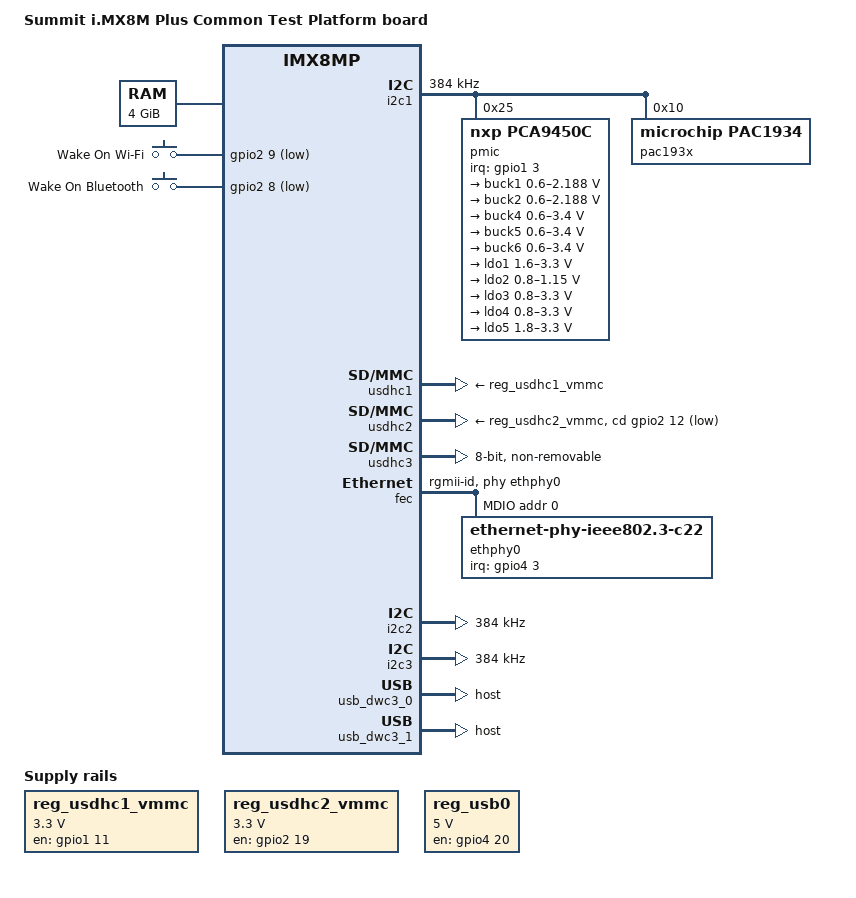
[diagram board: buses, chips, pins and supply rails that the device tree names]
// SPDX-License-Identifier: LicenseRef-Ezurio-Clause
/*
 * Copyright 2024 Ezurio
 */

#include <dt-bindings/net/ti-dp83867.h>
#include <dt-bindings/phy/phy-imx8-pcie.h>
#include <dt-bindings/usb/pd.h>

#include "imx8mp.dtsi"

/ {
	model = "Summit i.MX8M Plus Common Test Platform board";
	compatible = "summit,imx8mp-ctp", "fsl,imx8mp";

	chosen {
		stdout-path = &uart2;
	};

	memory@40000000 {
		device_type = "memory";
		reg = <0x0 0x40000000 0 0x80000000>,
		      <0x1 0x00000000 0 0x80000000>;
	};

	// M.2 E-key
 	reg_usdhc1_vmmc: regulator-usdhc1 {
		compatible = "regulator-fixed";

		pinctrl-names = "default";
		pinctrl-0 = <&pinctrl_wifi_pmu>;
		regulator-name = "M2_3V3";
		regulator-min-microvolt = <3300000>;
		regulator-max-microvolt = <3300000>;

		// gpio1 11 (pad D8) (M2 3V3 load switch enable, which is M.2 slot power)
		gpio = <&gpio1 11 GPIO_ACTIVE_HIGH>;
		enable-active-high;
	};

	// Full-SD
 	reg_usdhc2_vmmc: regulator-usdhc2 {
		compatible = "regulator-fixed";

		pinctrl-names = "default";
		pinctrl-0 = <&pinctrl_reg_usdhc2_vmmc>;

		regulator-name = "SD2_RESET_B VSD_3V3";
		regulator-min-microvolt = <3300000>;
		regulator-max-microvolt = <3300000>;

		// "(SD2_RESET_B to control the VSD_3V3)"
		// gpio2.IO[19], ball AD28
		gpio = <&gpio2 19 GPIO_ACTIVE_HIGH>;
		enable-active-high;

		/*
		 * LWB/LWB5/LWB5+ requires minimum 150ms after power-up until first access
		 * Testing shows this isn't always sufficient
		 */
		startup-delay-us = <250000>;
	};

	radio_wake {
		compatible = "gpio-keys";
		pinctrl-names = "default";
		pinctrl-0 = <&pinctrl_radio_wake>;

		wifi_wake: wake_on_wifi {
			label = "Wake On Wi-Fi";
			// SD1_DATA7, M2_SD_HOST_WAKEUP (M2 SDIO_WAKE#) (CPU Enable PU), ball U25
			gpios = <&gpio2 9 GPIO_ACTIVE_LOW>;
			linux,code = <KEY_WAKEUP>;
			wakeup-source;
		};

		// SD1_DATA6, M2_BT_HOST_WAKEUP (M2 UART WAKE#) (CPU Enable PU), ball AA28
		wake_on_bt {
			label = "Wake On Bluetooth";
			gpios = <&gpio2 8 GPIO_ACTIVE_LOW>;
			linux,code = <KEY_WAKEUP>;
			wakeup-source;
		};
	};

	reg_usb0: regulator-usb0 {
		compatible = "regulator-fixed";

		pinctrl-names = "default";
		pinctrl-0 = <&pinctrl_usb0_power>;

		regulator-name = "USB1 Power";
		regulator-min-microvolt = <5000000>;
		regulator-max-microvolt = <5000000>;

		gpio = <&gpio4 20 GPIO_ACTIVE_HIGH>;
		enable-active-high;
	};

	reg_con3_1v8: regulator-con3-1v8 {
		compatible = "regulator-fixed";
		status = "disabled";

		pinctrl-names = "default";
		pinctrl-0 = <&pinctrl_con3_1v8>;
		regulator-name = "CON3_1V8";
		regulator-min-microvolt = <1800000>;
		regulator-max-microvolt = <1800000>;

		gpio = <&gpio1 14 GPIO_ACTIVE_HIGH>;
		enable-active-high;
	};

	reg_con3_3v3: regulator-con3-3v3 {
		compatible = "regulator-fixed";
		status = "disabled";

		pinctrl-names = "default";
		pinctrl-0 = <&pinctrl_con3_3v3>;
		regulator-name = "CON3_3V3";
		regulator-min-microvolt = <3300000>;
		regulator-max-microvolt = <3300000>;

		gpio = <&gpio1 12 GPIO_ACTIVE_HIGH>;
		enable-active-high;
	};

	reg_con3_5v: regulator-con3-5 {
		compatible = "regulator-fixed";
		status = "disabled";

		pinctrl-names = "default";
		pinctrl-0 = <&pinctrl_con3_5v>;
		regulator-name = "CON3_5V";
		regulator-min-microvolt = <5000000>;
		regulator-max-microvolt = <5000000>;

		gpio = <&gpio1 7 GPIO_ACTIVE_HIGH>;
		enable-active-high;
	};
};

&A53_0 {
	cpu-supply = <&buck2>;
};

&A53_1 {
	cpu-supply = <&buck2>;
};

&A53_2 {
	cpu-supply = <&buck2>;
};

&A53_3 {
	cpu-supply = <&buck2>;
};

&cpu_alert0 {
	temperature = <95000>;
};

&cpu_crit0 {
	temperature = <105000>;
};

&soc_alert0 {
	temperature = <95000>;
};

&soc_crit0 {
	temperature = <105000>;
};

&i2c1 {
	clock-frequency = <384000>;
	pinctrl-names = "default";
	pinctrl-0 = <&pinctrl_i2c1>;
	status = "okay";

	#address-cells = <1>;
	#size-cells = <0>;

	pmic: pmic@25 {
		compatible = "nxp,pca9450c";
		reg = <0x25>;
		pinctrl-names = "default";
		pinctrl-0 = <&pinctrl_pmic>;
		interrupt-parent = <&gpio1>;
		interrupts = <3 IRQ_TYPE_LEVEL_LOW>;

		pmic_reg: regulators {
			buck1: BUCK1 {
				regulator-name = "BUCK1";
				regulator-min-microvolt = <600000>;
				regulator-max-microvolt = <2187500>;
				regulator-boot-on;
				regulator-always-on;
				regulator-ramp-delay = <3125>;
			};

			buck2: BUCK2 {
				regulator-name = "BUCK2";
				regulator-min-microvolt = <600000>;
				regulator-max-microvolt = <2187500>;
				regulator-boot-on;
				regulator-always-on;
				regulator-ramp-delay = <3125>;
				nxp,dvs-run-voltage = <950000>;
				nxp,dvs-standby-voltage = <850000>;
			};

			buck4: BUCK4{
				regulator-name = "BUCK4";
				regulator-min-microvolt = <600000>;
				regulator-max-microvolt = <3400000>;
				regulator-boot-on;
				regulator-always-on;
			};

			buck5: BUCK5{
				regulator-name = "BUCK5";
				regulator-min-microvolt = <600000>;
				regulator-max-microvolt = <3400000>;
				regulator-boot-on;
				regulator-always-on;
			};

			buck6: BUCK6 {
				regulator-name = "BUCK6";
				regulator-min-microvolt = <600000>;
				regulator-max-microvolt = <3400000>;
				regulator-boot-on;
				regulator-always-on;
			};

			ldo1: LDO1 {
				regulator-name = "LDO1";
				regulator-min-microvolt = <1600000>;
				regulator-max-microvolt = <3300000>;
				regulator-boot-on;
				regulator-always-on;
			};

			ldo2: LDO2 {
				regulator-name = "LDO2";
				regulator-min-microvolt = <800000>;
				regulator-max-microvolt = <1150000>;
				regulator-boot-on;
				regulator-always-on;
			};

			ldo3: LDO3 {
				regulator-name = "LDO3";
				regulator-min-microvolt = <800000>;
				regulator-max-microvolt = <3300000>;
				regulator-boot-on;
				regulator-always-on;
			};

			ldo4: LDO4 {
				regulator-name = "LDO4";
				regulator-min-microvolt = <800000>;
				regulator-max-microvolt = <3300000>;
				regulator-boot-on;
				regulator-always-on;
			};

			ldo5: LDO5 {
				regulator-name = "LDO5";
				regulator-min-microvolt = <1800000>;
				regulator-max-microvolt = <3300000>;
				regulator-boot-on;
				regulator-always-on;
			};
		};
	};

	pac193x@10 {
		compatible = "microchip,pac1934";
		reg = <0x10>;

		#address-cells = <1>;
		#size-cells = <0>;

		// ctp - current Sense on M2 3V3, socket 1.8V, 3.3V, 5V
		channel@1 {
			reg = <0x1>;
			shunt-resistor-micro-ohms = <33000>;
			label = "3V3_M2";
		};

		channel@2 {
			reg = <0x2>;
			shunt-resistor-micro-ohms = <33000>;
			label = "5V_SOCKET";
		};

		channel@3 {
			reg = <0x3>;
			shunt-resistor-micro-ohms = <33000>;
			label = "3V3_SOCKET";
		};

		channel@4 {
			reg = <0x4>;
			shunt-resistor-micro-ohms = <33000>;
			label = "1V8_SOCKET";
		};
	};
};

&pcie {
	clocks = <&clk IMX8MP_CLK_HSIO_ROOT>,
	         <&clk IMX8MP_CLK_PCIE_ROOT>,
	         <&clk IMX8MP_CLK_HSIO_AXI>;
	clock-names = "pcie", "pcie_aux", "pcie_bus";
	assigned-clocks = <&clk IMX8MP_CLK_PCIE_AUX>;

	assigned-clock-rates = <10000000>;
	assigned-clock-parents = <&clk IMX8MP_SYS_PLL2_50M>;
};

&pcie_phy {
	fsl,refclk-pad-mode = <IMX8_PCIE_REFCLK_PAD_OUTPUT>;
	clocks = <&hsio_blk_ctrl>;
	clock-names = "ref";
};

&uart1 {
	/* M.2 E-Key Bluetooth */
	assigned-clocks = <&clk IMX8MP_CLK_UART1>;
	assigned-clock-parents = <&clk IMX8MP_SYS_PLL1_80M>;
	pinctrl-names = "default";
	pinctrl-0 = <&pinctrl_uart1>;

	uart-has-rtscts;
};

&uart2 {
	/* console */
	pinctrl-names = "default";
	pinctrl-0 = <&pinctrl_uart2>;
};

&uart3 {
	pinctrl-names = "default";
	pinctrl-0 = <&pinctrl_uart3>;
	assigned-clocks = <&clk IMX8MP_CLK_UART3>;
	assigned-clock-parents = <&clk IMX8MP_SYS_PLL1_80M>;
};

&usdhc1 {
	pinctrl-names = "default", "state_100mhz", "state_200mhz";
	pinctrl-0 = <&pinctrl_usdhc1>;
	pinctrl-1 = <&pinctrl_usdhc1_100mhz>;
	pinctrl-2 = <&pinctrl_usdhc1_200mhz>;

	vmmc-supply = <&reg_usdhc1_vmmc>;
};

&usdhc2 {
	pinctrl-names = "default", "state_100mhz", "state_200mhz";
	pinctrl-0 = <&pinctrl_usdhc2>, <&pinctrl_usdhc2_cd>;
	pinctrl-1 = <&pinctrl_usdhc2_100mhz>, <&pinctrl_usdhc2_cd>;
	pinctrl-2 = <&pinctrl_usdhc2_200mhz>, <&pinctrl_usdhc2_cd>;

	assigned-clocks = <&clk IMX8MP_CLK_USDHC2>;
	assigned-clock-rates = <400000000>;

	// SD2_CD_B pad AD29
	cd-gpios = <&gpio2 12 GPIO_ACTIVE_LOW>;

	vmmc-supply = <&reg_usdhc2_vmmc>;
};

// ctp - eMMC
&usdhc3 {
	pinctrl-names = "default", "state_100mhz", "state_200mhz";

	pinctrl-0 = <&pinctrl_usdhc3>;
	pinctrl-1 = <&pinctrl_usdhc3_100mhz>;
	pinctrl-2 = <&pinctrl_usdhc3_200mhz>;

	assigned-clocks = <&clk IMX8MP_CLK_USDHC3>;
	assigned-clock-rates = <400000000>;

	bus-width = <8>;
	non-removable;
};

&wdog1 {
	pinctrl-names = "default";
	pinctrl-0 = <&pinctrl_wdog>;
	fsl,ext-reset-output;
};

&iomuxc {
	pinctrl_i2c1: i2c1grp {
		fsl,pins = <
			MX8MP_IOMUXC_I2C1_SCL__I2C1_SCL		0x400001c2
			MX8MP_IOMUXC_I2C1_SDA__I2C1_SDA		0x400001c2
		>;
	};

	pinctrl_i2c1_gpio: i2c1grp-gpio {
		fsl,pins = <
			MX8MP_IOMUXC_I2C1_SCL__GPIO5_IO14	0x1c2
			MX8MP_IOMUXC_I2C1_SDA__GPIO5_IO15	0x1c2
		>;
	};

	pinctrl_pmic: pmicirq {
		fsl,pins = <
			MX8MP_IOMUXC_GPIO1_IO03__GPIO1_IO03	0x40
		>;
	};

	pinctrl_uart2: uart2grp {
		fsl,pins = <
			MX8MP_IOMUXC_UART2_RXD__UART2_DCE_RX	0x000001c0
			MX8MP_IOMUXC_UART2_TXD__UART2_DCE_TX	0x000000c0
		>;
	};

	pinctrl_uart3: uart3grp {
		fsl,pins = <
			MX8MP_IOMUXC_ECSPI1_SCLK__UART3_DCE_RX	0x000001c0
			MX8MP_IOMUXC_ECSPI1_MOSI__UART3_DCE_TX	0x000001c0
			MX8MP_IOMUXC_ECSPI1_SS0__UART3_DCE_RTS	0x000001c0
			MX8MP_IOMUXC_ECSPI1_MISO__UART3_DCE_CTS	0x000001c0
		>;
	};

	pinctrl_usdhc1: usdhc1grp {
		fsl,pins = <
			MX8MP_IOMUXC_SD1_CLK__USDHC1_CLK	0x180
			MX8MP_IOMUXC_SD1_CMD__USDHC1_CMD	0x1c0
			MX8MP_IOMUXC_SD1_DATA0__USDHC1_DATA0	0x1c0
			MX8MP_IOMUXC_SD1_DATA1__USDHC1_DATA1	0x1c0
			MX8MP_IOMUXC_SD1_DATA2__USDHC1_DATA2	0x1c0
			MX8MP_IOMUXC_SD1_DATA3__USDHC1_DATA3	0x1c0
		>;
	};

	pinctrl_usdhc1_100mhz: usdhc1grp-100mhz {
		fsl,pins = <
			MX8MP_IOMUXC_SD1_CLK__USDHC1_CLK	0x194
			MX8MP_IOMUXC_SD1_CMD__USDHC1_CMD	0x1d4
			MX8MP_IOMUXC_SD1_DATA0__USDHC1_DATA0	0x1d4
			MX8MP_IOMUXC_SD1_DATA1__USDHC1_DATA1	0x1d4
			MX8MP_IOMUXC_SD1_DATA2__USDHC1_DATA2	0x1d4
			MX8MP_IOMUXC_SD1_DATA3__USDHC1_DATA3	0x1d4
		>;
	};

	pinctrl_usdhc1_200mhz: usdhc1grp-200mhz {
		fsl,pins = <
			MX8MP_IOMUXC_SD1_CLK__USDHC1_CLK	0x194
			MX8MP_IOMUXC_SD1_CMD__USDHC1_CMD	0x1d4
			MX8MP_IOMUXC_SD1_DATA0__USDHC1_DATA0	0x1d4
			MX8MP_IOMUXC_SD1_DATA1__USDHC1_DATA1	0x1d4
			MX8MP_IOMUXC_SD1_DATA2__USDHC1_DATA2	0x1d4
			MX8MP_IOMUXC_SD1_DATA3__USDHC1_DATA3	0x1d4
		>;
	};

	pinctrl_usdhc2: usdhc2grp {
		fsl,pins = <
			MX8MP_IOMUXC_SD2_CLK__USDHC2_CLK	0x190
			MX8MP_IOMUXC_SD2_CMD__USDHC2_CMD	0x1d0
			MX8MP_IOMUXC_SD2_DATA0__USDHC2_DATA0	0x1d0
			MX8MP_IOMUXC_SD2_DATA1__USDHC2_DATA1	0x1d0
			MX8MP_IOMUXC_SD2_DATA2__USDHC2_DATA2	0x1d0
			MX8MP_IOMUXC_SD2_DATA3__USDHC2_DATA3	0x1d0
			MX8MP_IOMUXC_GPIO1_IO04__USDHC2_VSELECT	0xc0
		>;
	};

	pinctrl_usdhc2_100mhz: usdhc2-100mhzgrp {
		fsl,pins = <
			MX8MP_IOMUXC_SD2_CLK__USDHC2_CLK	0x194
			MX8MP_IOMUXC_SD2_CMD__USDHC2_CMD	0x1d4
			MX8MP_IOMUXC_SD2_DATA0__USDHC2_DATA0	0x1d4
			MX8MP_IOMUXC_SD2_DATA1__USDHC2_DATA1	0x1d4
			MX8MP_IOMUXC_SD2_DATA2__USDHC2_DATA2	0x1d4
			MX8MP_IOMUXC_SD2_DATA3__USDHC2_DATA3	0x1d4
			MX8MP_IOMUXC_GPIO1_IO04__USDHC2_VSELECT 0xc0
		>;
	};

	pinctrl_usdhc2_200mhz: usdhc2-200mhzgrp {
		fsl,pins = <
			MX8MP_IOMUXC_SD2_CLK__USDHC2_CLK	0x196
			MX8MP_IOMUXC_SD2_CMD__USDHC2_CMD	0x1d6
			MX8MP_IOMUXC_SD2_DATA0__USDHC2_DATA0	0x1d6
			MX8MP_IOMUXC_SD2_DATA1__USDHC2_DATA1	0x1d6
			MX8MP_IOMUXC_SD2_DATA2__USDHC2_DATA2	0x1d6
			MX8MP_IOMUXC_SD2_DATA3__USDHC2_DATA3	0x1d6
			MX8MP_IOMUXC_GPIO1_IO04__USDHC2_VSELECT 0xc0
		>;
	};

	pinctrl_usdhc3: usdhc3grp {
		fsl,pins = <
			MX8MP_IOMUXC_NAND_WE_B__USDHC3_CLK	0x190
			MX8MP_IOMUXC_NAND_WP_B__USDHC3_CMD	0x1d0
			MX8MP_IOMUXC_NAND_DATA04__USDHC3_DATA0	0x1d0
			MX8MP_IOMUXC_NAND_DATA05__USDHC3_DATA1	0x1d0
			MX8MP_IOMUXC_NAND_DATA06__USDHC3_DATA2	0x1d0
			MX8MP_IOMUXC_NAND_DATA07__USDHC3_DATA3	0x1d0
			MX8MP_IOMUXC_NAND_RE_B__USDHC3_DATA4	0x1d0
			MX8MP_IOMUXC_NAND_CE2_B__USDHC3_DATA5	0x1d0
			MX8MP_IOMUXC_NAND_CE3_B__USDHC3_DATA6	0x1d0
			MX8MP_IOMUXC_NAND_CLE__USDHC3_DATA7	0x1d0
			MX8MP_IOMUXC_NAND_CE1_B__USDHC3_STROBE	0x190
		>;
	};

	pinctrl_usdhc3_100mhz: usdhc3-100mhzgrp {
		fsl,pins = <
			MX8MP_IOMUXC_NAND_WE_B__USDHC3_CLK	0x194
			MX8MP_IOMUXC_NAND_WP_B__USDHC3_CMD	0x1d4
			MX8MP_IOMUXC_NAND_DATA04__USDHC3_DATA0	0x1d4
			MX8MP_IOMUXC_NAND_DATA05__USDHC3_DATA1	0x1d4
			MX8MP_IOMUXC_NAND_DATA06__USDHC3_DATA2	0x1d4
			MX8MP_IOMUXC_NAND_DATA07__USDHC3_DATA3	0x1d4
			MX8MP_IOMUXC_NAND_RE_B__USDHC3_DATA4	0x1d4
			MX8MP_IOMUXC_NAND_CE2_B__USDHC3_DATA5	0x1d4
			MX8MP_IOMUXC_NAND_CE3_B__USDHC3_DATA6	0x1d4
			MX8MP_IOMUXC_NAND_CLE__USDHC3_DATA7	0x1d4
			MX8MP_IOMUXC_NAND_CE1_B__USDHC3_STROBE	0x194
		>;
	};

	pinctrl_usdhc3_200mhz: usdhc3-200mhzgrp {
		fsl,pins = <
			MX8MP_IOMUXC_NAND_WE_B__USDHC3_CLK	0x196
			MX8MP_IOMUXC_NAND_WP_B__USDHC3_CMD	0x1d6
			MX8MP_IOMUXC_NAND_DATA04__USDHC3_DATA0	0x1d6
			MX8MP_IOMUXC_NAND_DATA05__USDHC3_DATA1	0x1d6
			MX8MP_IOMUXC_NAND_DATA06__USDHC3_DATA2	0x1d6
			MX8MP_IOMUXC_NAND_DATA07__USDHC3_DATA3	0x1d6
			MX8MP_IOMUXC_NAND_RE_B__USDHC3_DATA4	0x1d6
			MX8MP_IOMUXC_NAND_CE2_B__USDHC3_DATA5	0x1d6
			MX8MP_IOMUXC_NAND_CE3_B__USDHC3_DATA6	0x1d6
			MX8MP_IOMUXC_NAND_CLE__USDHC3_DATA7	0x1d6
			MX8MP_IOMUXC_NAND_CE1_B__USDHC3_STROBE	0x196
		>;
	};

	pinctrl_reg_usdhc2_vmmc: regusdhc2vmmcgrp {
		fsl,pins = <
			MX8MP_IOMUXC_SD2_RESET_B__GPIO2_IO19	0x40
		>;
	};

	pinctrl_wdog: wdoggrp {
		fsl,pins = <
			MX8MP_IOMUXC_GPIO1_IO02__WDOG1_WDOG_B	0xc6
		>;
	};

	pinctrl_wifi_pmu: wifipmugrp {
		fsl,pins = <
			// gpio1 11 (pad D8) (M2 3V3 load switch enable, which is M.2 slot power)
			MX8MP_IOMUXC_GPIO1_IO11__GPIO1_IO11	0x40
		>;
	};

	// W_DISABLE1, shared with SDIO as disable
	pinctrl_pcie_disable: pciedisablegrp {
		fsl,pins = <
		        // SD1_DATA4, M2_WDISABLE1, ball U26
			MX8MP_IOMUXC_SD1_DATA4__GPIO2_IO06         0x00000000
		>;
	};

	pinctrl_m2_sdio_reset: sdioresetgrp {
		fsl,pins = <
		        // M2_SD_nRST, SD1_RESET_B, ball W25
			MX8MP_IOMUXC_SD1_RESET_B__GPIO2_IO10       0x00000000
		>;
	};

	pinctrl_pcie_reset: pcieresetgrp {
		fsl,pins = <
			MX8MP_IOMUXC_SD1_DATA5__GPIO2_IO07         0x00000000
		>;
	};

	pinctrl_pcie_clkreq: pcieclkreqgrp {
		fsl,pins = <
			MX8MP_IOMUXC_I2C4_SCL__PCIE_CLKREQ_B       0x00000060 /* open drain, pull up*/
		>;
	};

	pinctrl_radio_wake: pciewakegrp {
		fsl,pins = <
			// gpio5.io[21], ctp M2_PCIE_nWAKE, ball AD8
			MX8MP_IOMUXC_I2C4_SDA__GPIO5_IO21          0x000001C0
			// SD1_DATA6, M2_BT_HOST_WAKEUP (M2 UART WAKE#) (CPU Enable PU), ball AA28
			MX8MP_IOMUXC_SD1_DATA6__GPIO2_IO08         0x000001C0
			// SD1_DATA7, M2_SD_HOST_WAKEUP (M2 SDIO_WAKE#) (CPU Enable PU), ball U25
			MX8MP_IOMUXC_SD1_DATA7__GPIO2_IO09         0x000001C0
		>;
	};

	pinctrl_usdhc2_cd: usdhc2_cdgrp {
		// ctp - checked
		fsl,pins = <
			MX8MP_IOMUXC_SD2_CD_B__GPIO2_IO12		0x000001c4
		>;
	};

	pinctrl_usb0_power: usb0_powergrp {
		fsl,pins = <
			MX8MP_IOMUXC_SAI1_MCLK__GPIO4_IO20		0x00000016
		>;
	};

	pinctrl_fec: fecgrp {
		fsl,pins = <
			MX8MP_IOMUXC_SAI1_RXD2__ENET1_MDC		0x00000002
			MX8MP_IOMUXC_SAI1_RXD3__ENET1_MDIO		0x00000082
			MX8MP_IOMUXC_SAI1_RXD4__ENET1_RGMII_RD0		0x00000090
			MX8MP_IOMUXC_SAI1_RXD5__ENET1_RGMII_RD1		0x00000090
			MX8MP_IOMUXC_SAI1_RXD6__ENET1_RGMII_RD2		0x00000090
			MX8MP_IOMUXC_SAI1_RXD7__ENET1_RGMII_RD3		0x00000090
			MX8MP_IOMUXC_SAI1_TXC__ENET1_RGMII_RXC		0x00000090
			MX8MP_IOMUXC_SAI1_TXFS__ENET1_RGMII_RX_CTL	0x00000090
			MX8MP_IOMUXC_SAI1_TXD0__ENET1_RGMII_TD0		0x00000016
			MX8MP_IOMUXC_SAI1_TXD1__ENET1_RGMII_TD1		0x00000016
			MX8MP_IOMUXC_SAI1_TXD2__ENET1_RGMII_TD2		0x00000016
			MX8MP_IOMUXC_SAI1_TXD3__ENET1_RGMII_TD3		0x00000016
			MX8MP_IOMUXC_SAI1_TXD4__ENET1_RGMII_TX_CTL	0x00000016
			MX8MP_IOMUXC_SAI1_TXD5__ENET1_RGMII_TXC		0x00000016
			MX8MP_IOMUXC_SAI1_RXD0__GPIO4_IO02		0x00000000
		>;
	};

	pinctrl_fec_phy: fecphygrp {
		fsl,pins = <
			MX8MP_IOMUXC_SAI1_RXD1__GPIO4_IO03		0x000001C0
		>;
	};

	// ctp - M.2 i2c
	pinctrl_i2c2: i2c2grp {
		fsl,pins = <
			MX8MP_IOMUXC_I2C2_SCL__I2C2_SCL			0x400001c2
			MX8MP_IOMUXC_I2C2_SDA__I2C2_SDA			0x400001c2
		>;
	};

	// ctp - Mode PCIe Daughter Board
	pinctrl_i2c3: i2c3grp {
		fsl,pins = <
			MX8MP_IOMUXC_I2C3_SCL__I2C3_SCL			0x400001c2
			MX8MP_IOMUXC_I2C3_SDA__I2C3_SDA			0x400001c2
		>;
	};

	pinctrl_uart1: uart1grp {
		fsl,pins = <
			MX8MP_IOMUXC_UART1_RXD__UART1_DCE_RX		0x000001C0
			MX8MP_IOMUXC_UART1_TXD__UART1_DCE_TX		0x000001C0
			MX8MP_IOMUXC_UART3_RXD__UART1_DCE_CTS		0x000001C0
			MX8MP_IOMUXC_UART3_TXD__UART1_DCE_RTS		0x000001C0
		>;
	};

	pinctrl_con3_1v8: con3-1v8-pwr {
		fsl,pins = <
			MX8MP_IOMUXC_GPIO1_IO14__GPIO1_IO14         0x00000000 /* Socket power 1V8 */
		>;
	};

	pinctrl_con3_3v3: con3-3v3-pwr {
		fsl,pins = <
			MX8MP_IOMUXC_GPIO1_IO12__GPIO1_IO12         0x00000000 /* Socket power 3V3 */
		>;
	};

	pinctrl_con3_5v: con3-5v-pwr {
		fsl,pins = <
			MX8MP_IOMUXC_GPIO1_IO07__GPIO1_IO07         0x00000000 /* Socket power 5V */
		>;
	};
};

&fec {
	pinctrl-names = "default";
	pinctrl-0 = <&pinctrl_fec>;
	phy-mode = "rgmii-id";
	phy-handle = <&ethphy0>;
	fsl,magic-packet;

	mdio {
		#address-cells = <1>;
		#size-cells = <0>;

		reset-gpios = <&gpio4 2 GPIO_ACTIVE_LOW>;
		reset-delay-us = <150>;
		reset-post-delay-us = <300>;

		ethphy0: ethernet-phy@0 {
			compatible = "ethernet-phy-ieee802.3-c22";
			reg = <0>;

			pinctrl-names = "default";
			pinctrl-0 = <&pinctrl_fec_phy>;

			interrupt-parent = <&gpio4>;
			interrupts = <3 IRQ_TYPE_LEVEL_LOW>;

			ti,rx-internal-delay = <DP83867_RGMIIDCTL_2_00_NS>;
			ti,tx-internal-delay = <DP83867_RGMIIDCTL_2_00_NS>;
			ti,fifo-depth = <DP83867_PHYCR_FIFO_DEPTH_4_B_NIB>;
		};
	};
};

// ctp - M.2 i2c
&i2c2 {
	pinctrl-names = "default";
	pinctrl-0 = <&pinctrl_i2c2>;

	clock-frequency = <384000>;
};

// ctp - Mode PCIe Daughter Board
&i2c3 {
	pinctrl-names = "default";
	pinctrl-0 = <&pinctrl_i2c3>;

	clock-frequency = <384000>;
};

&usb3_phy0 {
	vbus-supply = <&reg_usb0>;
	fsl,phy-tx-preemp-amp-tune = <3>;
	fsl,phy-tx-vref-tune = <0xb>;
};

&usb_dwc3_0 {
	dr_mode = "host";
};

&usb3_phy1 {
	fsl,phy-tx-preemp-amp-tune = <3>;
	fsl,phy-tx-vref-tune = <0xb>;
};

&usb_dwc3_1 {
	dr_mode = "host";
};
